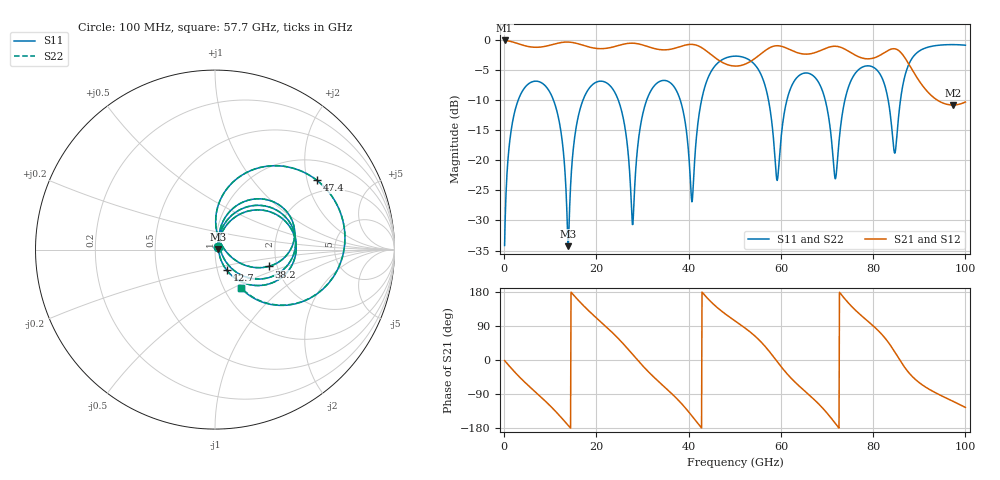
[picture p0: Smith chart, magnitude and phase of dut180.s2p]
! Touchstone file exported from HFSS 2026.1.0
!  File:  C:/ffzhzh/LocalFiles/Ansys_Project_Files/temp_train_TSV_RDL_180_1783652905_29156.aedt
!  Generated:  11:20:43 AM Jul 10, 2026
!  Design:  TSV_RDL
!  Project:  temp_train_TSV_RDL_180_1783652905_29156
! Variables:
!  h_bsmrdl = 4.55um
!  h_ox = 20um
!  h_rdl = 5um
!  h_sub = 86.31um
!  h_tmrdl = 4.74um
!  h_tsv = 86.31um
!  h_via = 3um
!  l_bsmrdl = 544.9um
!  l_sub = 4112.67um
!  l_tmrdl = 486.11um
!  m_sub = 200um
!  pitch = 45.23um
!  r_tsv = 7.93um
!  s_tmrdl = 10um
!  w_bsmrdl = 25.3um
!  w_sub = 500um
!  w_tmrdl = 19.21um
!  x_tsv_center1 = 495.715um
!  x_tsv_center2 = 1065.915um
!  x_tsv_center3 = 1571.235um
!  x_tsv_center4 = 2141.435um
!  x_tsv_center5 = 2646.755um
!  x_tsv_center6 = 3216.955um
# GHz S MA R 50.000000
! Terminal data exported
! Port[1] = TM_RDL1_1_T1
! Port[2] = TM_RDL5_1_T1
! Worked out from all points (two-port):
!   1000 points, 100 MHz to 100 GHz, reference 50 ohm
!   highest |S21| = -0.13 dB at 100 MHz (marker M1); lowest = -10.8 dB at 97.3 GHz (marker M2)
!   |S21| within 3 dB of the highest: start of sweep to 45.98 GHz; 54.35 GHz to 78.11 GHz (23.76 GHz wide, 35.9 % of centre) (the widest 2 of 3)
!   lowest |S11| = -34.3 dB at 13.9 GHz (marker M3), VSWR 1.04, Z = 51.9 + j0.363 ohm
!   |S11| at or under -10 dB: 10.68 GHz to 17.11 GHz (6.424 GHz wide, 46.2 % of centre); 24.73 GHz to 30.92 GHz (6.186 GHz wide, 22.2 % of centre); 38.17 GHz to 42.81 GHz (4.633 GHz wide, 11.4 % of centre) (the widest 3 of 7)
!   |S22| runs from -34.5 to -0.8 dB; largest |S21 - S12| = 2.2e-13
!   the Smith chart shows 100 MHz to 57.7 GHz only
!   S11 on the Smith chart (normalised r, x): 100 MHz: 1.03, +0.03; 12.7 GHz: 1.11, -0.26; 38.2 GHz: 1.80, -0.38; 47.4 GHz: 1.58, +2.30; 57.7 GHz: 1.20, -0.55
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0.1  0.01963 40.9  0.9854 -1.5  0.9854 -1.5  0.01963 40.9
! Gamma 0 0 0 0
! Port Impedance 50 0 50 0
4.4  0.397 28.9  0.8928 -57.8  0.8928 -57.8  0.3971 28.9
12.7  0.1326 -60.2  0.951 -156.1  0.951 -156.1  0.1326 -60.4
13.9  0.01936 10.4  0.9556 -172.7  0.9556 -172.7  0.01884 10.4
16.8  0.2931 53.7  0.9066 148.4  0.9066 148.4  0.2931 53.9
24.1  0.359 -24.0  0.88 64.7  0.88 64.7  0.359 -23.9
27.9  0.0293 24.2  0.9355 14.1  0.9355 14.1  0.02963 24.1
33.4  0.4435 32.0  0.8313 -55.9  0.8313 -55.9  0.4435 32.0
38.2  0.3139 -17.4  0.8768 -111.7  0.8768 -111.7  0.3139 -17.3
40.7  0.04516 26.2  0.9148 -147.5  0.9148 -147.5  0.04568 26.4
47.4  0.6866 34.2  0.6452 126.5  0.6452 126.5  0.6866 34.2
50.1  0.7305 12.3  0.6041 102.8  0.6041 102.8  0.7305 12.4
57.7  0.2575 -56.0  0.8624 19.4  0.8624 19.4  0.2581 -55.4
59.2  0.06799 -1.8  0.8912 -4.3  0.8912 -4.3  0.07092 -1.7
66.7  0.5119 -7.3  0.7681 -98.6  0.7681 -98.6  0.5121 -7.4
72.9  0.1846 63.0  0.8664 175.6  0.8664 175.6  0.1846 62.9
77.6  0.5906 23.2  0.7049 115.5  0.7049 115.5  0.5907 23.1
83.4  0.2932 -27.8  0.82 44.7  0.82 44.7  0.2934 -27.8
84.8  0.1176 28.9  0.8389 18.9  0.8389 18.9  0.118 28.8
88  0.6562 43.3  0.603 -37.2  0.603 -37.2  0.6561 43.3
97.3  0.9102 -19.2  0.2872 -108.9  0.2872 -108.9  0.9102 -19.2
100  0.8999 -33.8  0.304 -125.1  0.304 -125.1  0.8999 -33.8
